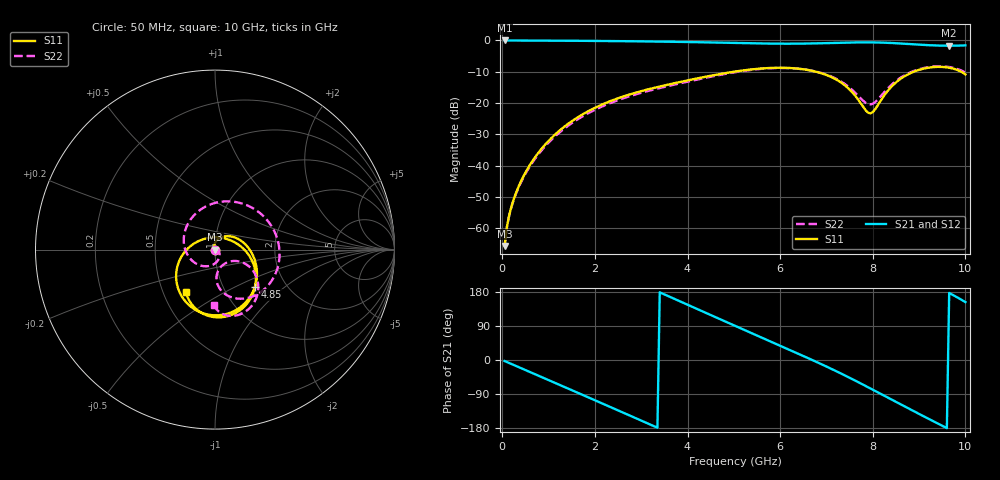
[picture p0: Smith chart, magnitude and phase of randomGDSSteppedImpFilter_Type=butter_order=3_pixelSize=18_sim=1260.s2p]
! freq	dB(S11)	phase(S11)	dB(S12)	phase(S12)
!  dB(S21)	phase(S21)	dB(S22)	phase(S22)
!S-par simulation data
#  GHz  S  DB  R 50
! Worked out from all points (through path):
!   200 points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, 50 MHz to 10 GHz, reference 50 ohm
!   highest |S21| = 0.00 dB at 50 MHz (marker M1); lowest = -1.7 dB at 9.65 GHz (marker M2)
!   group delay of S21, straight-line fit = 155 ps
!   lowest |S11| = -65.6 dB at 50 MHz (marker M3), VSWR 1.00, Z = 50 + j0.0521 ohm
!   |S11| at or under -10 dB: start of sweep to 4.997 GHz; 6.777 GHz to 8.883 GHz (2.106 GHz wide, 26.9 % of centre); 9.908 GHz to end of sweep
!   |S22| runs from -65.7 to -8.2 dB; largest |S21 - S12| = 0
!   S11 on the Smith chart (normalised r, x): 50 MHz: 1.00, +0.00; 4.85 GHz: 1.40, -0.64; 10 GHz: 0.65, -0.33
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0.05  -65.63 84.5  -0.00 -2.7  -0.00 -2.7  -65.69 72.1
0.1  -59.52 92.6  -0.01 -5.4  -0.01 -5.4  -59.60 68.2
0.2  -52.91 100.9  -0.03 -10.7  -0.03 -10.7  -53.06 54.4
0.55  -40.89 109.4  -0.04 -29.2  -0.04 -29.2  -41.29 11.9
1.2  -29.24 92.0  -0.08 -63.6  -0.08 -63.6  -29.83 -39.4
1.75  -23.47 68.9  -0.12 -92.9  -0.12 -92.9  -24.10 -75.2
2.2  -20.17 49.6  -0.17 -116.9  -0.17 -116.9  -20.79 -104.1
2.65  -17.71 31.1  -0.24 -141.0  -0.24 -141.0  -18.28 -134.2
3.4  -14.71 4.0  -0.37 178.6  -0.37 178.6  -15.19 171.6
4.05  -12.61 -16.7  -0.51 143.3  -0.51 143.3  -13.00 121.7
4.45  -11.42 -29.5  -0.62 121.5  -0.62 121.5  -11.74 91.0
4.85  -10.35 -42.9  -0.74 99.7  -0.74 99.7  -10.59 61.3
5.05  -9.88 -50.0  -0.81 88.8  -0.81 88.8  -10.08 47.0
5.5  -9.07 -67.3  -0.94 64.5  -0.94 64.5  -9.20 16.3
5.95  -8.72 -86.2  -1.03 40.4  -1.03 40.4  -8.80 -12.2
6.7  -9.73 -122.6  -0.96 -0.4  -0.96 -0.4  -9.70 -54.9
7.3  -13.29 -160.1  -0.73 -34.8  -0.73 -34.8  -12.97 -82.3
7.95  -23.29 87.6  -0.61 -75.2  -0.61 -75.2  -20.43 -55.4
8.35  -15.63 -0.7  -0.77 -101.1  -0.77 -101.1  -14.92 -25.0
9  -9.39 -54.9  -1.35 -142.4  -1.35 -142.4  -9.19 -47.5
9.65  -8.71 -98.5  -1.68 176.9  -1.68 176.9  -8.48 -78.1
10  -10.86 -124.6  -1.58 152.8  -1.58 152.8  -10.28 -91.4
